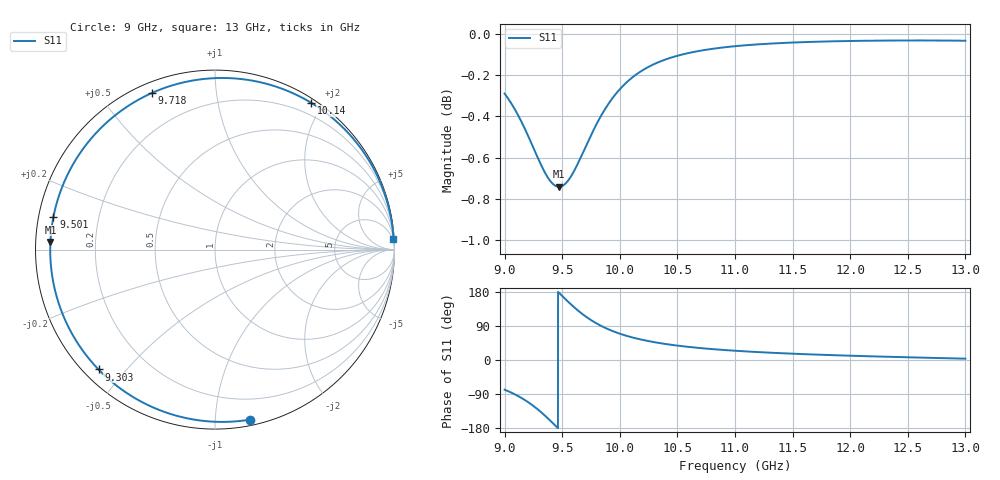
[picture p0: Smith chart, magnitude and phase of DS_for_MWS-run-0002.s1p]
! TOUCHSTONE file generated by CST DESIGN STUDIO
! Date and time: Tue Feb  4 18:19:02 2025
! Project name: C:\Work\MatlabApps\UnitCellOptimizationMatlab\CST\unitcell.cst
! Tree item: Tasks\Sweep1\SPara1\S-Parameters
! Header version: 2024
! Port assignment regex: !\s*Touchstone port\s*([0-9]+)\s*=\s*(CST MWS port|CST DES external port|CST DES block port)\s*(.+)\s* \(\"(.*)\"\)(\s*mode\s*([0-9]+))?.*
! Touchstone port assignment:
! Touchstone port 1 = CST DES external port 1 ("")
# GHz S MA R 50
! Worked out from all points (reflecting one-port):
!   4001 points, 9 GHz to 13 GHz, reference 50 ohm
!   lowest |S11| = -0.7 dB at 9.472 GHz (marker M1), VSWR 23.42, Z = 2.14 + j1.17 ohm
!   phase of S11 starts at -78 deg and turns -278 deg over the sweep
!   S11 on the Smith chart (normalised r, x): 9 GHz: 0.04, -1.23; 9.303 GHz: 0.04, -0.42; 9.501 GHz: 0.04, +0.10; 9.718 GHz: 0.04, +0.68; 10.14 GHz: 0.05, +1.85; 13 GHz: 2, +33
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9  0.9673 -78.4
9.074  0.9604 -88.4
9.171  0.949 -104.7
9.239  0.9399 -118.8
9.303  0.9312 -134.2
9.347  0.9258 -145.9
9.394  0.9213 -159.3
9.434  0.9189 -171.2
9.472  0.9181 177.3
9.5  0.9185 168.9
9.501  0.9185 168.6
9.553  0.9214 153.3
9.613  0.9274 136.7
9.665  0.9339 123.7
9.718  0.9408 111.8
9.774  0.948 100.8
9.836  0.9552 90.3
9.916  0.963 79.0
10  0.9696 69.4
10.144  0.9777 56.8
10.305  0.9836 46.7
10.5  0.988 38.0
10.722  0.991 30.8
11  0.9933 24.4
11.5  0.9953 16.6
12  0.9962 11.3
12.5  0.9965 7.1
13  0.9963 3.5
